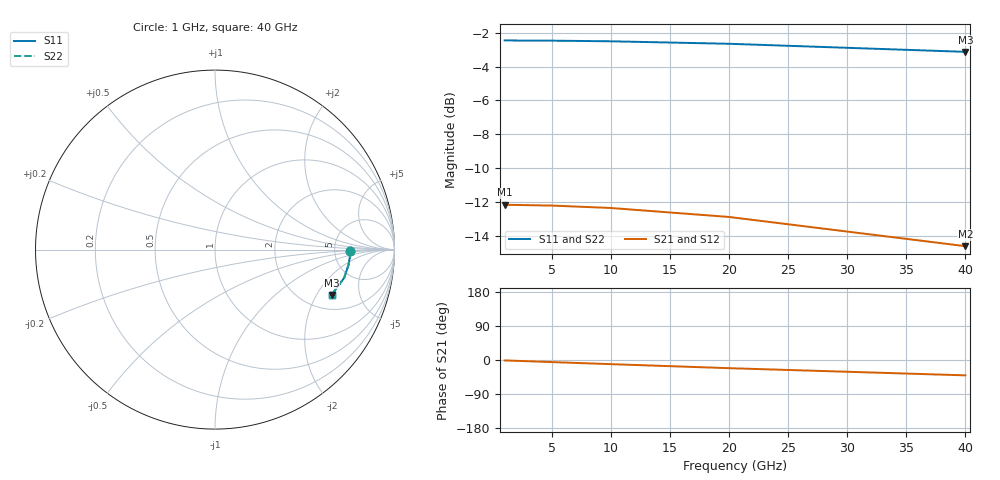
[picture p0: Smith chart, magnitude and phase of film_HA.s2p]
! EM-TFR film section of run HA: ha_dut.s2p de-embedded by half of ha_thru.s2p (README)
# GHz S RI R 50
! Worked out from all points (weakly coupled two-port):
!   5 points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, 1 GHz to 40 GHz, reference 50 ohm
!   highest |S21| = -12.16 dB at 1 GHz (marker M1); lowest = -14.6 dB at 40 GHz (marker M2)
!   lowest |S11| = -3.1 dB at 40 GHz (marker M3), VSWR 5.61, Z = 137 - j136 ohm
!   |S11| at or under -10 dB: nowhere
!   |S22| runs from -3.1 to -2.5 dB; largest |S21 - S12| = 1.2e-07
1  0.7533 -0.00868  0.2465 -0.00473  0.2465 -0.00473  0.7533 -0.00857
5  0.7511 -0.043  0.244 -0.0235  0.244 -0.0235  0.7511 -0.0426
10  0.7443 -0.0845  0.2368 -0.0458  0.2368 -0.0458  0.7443 -0.0838
20  0.7194 -0.1579  0.211 -0.0834  0.211 -0.0834  0.7195 -0.1569
40  0.6497 -0.2532  0.1414 -0.1209  0.1414 -0.1209  0.6492 -0.2532
